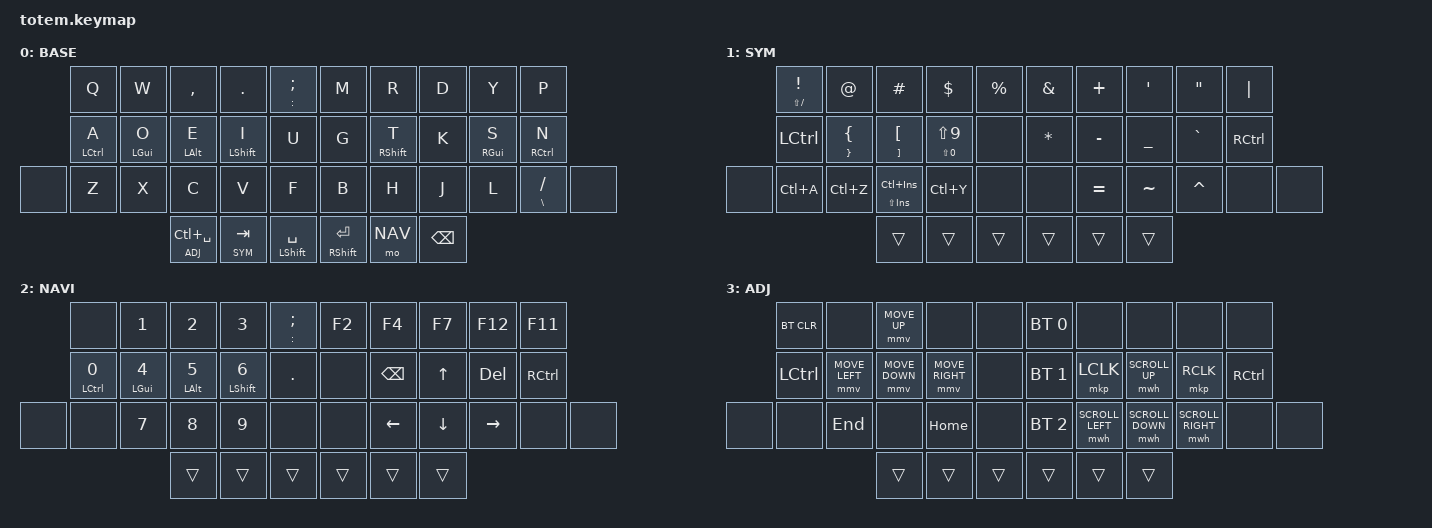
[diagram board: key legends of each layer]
#include <behaviors.dtsi>
#include <dt-bindings/zmk/keys.h>
#include <dt-bindings/zmk/bt.h>
#include <dt-bindings/zmk/outputs.h>
#include <dt-bindings/zmk/mouse.h>

#define BASE 0
#define SYM  1
#define NAV  2
#define ADJ  3

&lt {
        flavor = "hold-preferred";
        tapping-term-ms = <165>;
};

#define U_MOUSE_MOVE_MAX 1100
#define U_MOUSE_SCROLL_MAX 100

&mmv {
	time-to-max-speed-ms = <60>;
};
&mwh {
        time-to-max-speed-ms = <200>;
};

/ {
        combos {
                compatible = "zmk,combos";
                combo_esc {
                        timeout-ms = <72>;
                        key-positions = <1 2>;
                        bindings = <&kp ESC>;
                        layers = <0>;
                };
                combo_caps {
			timeout-ms = <72>;
			key-positions = <7 8>;
			bindings = <&caps_word>;
                        layers = <0>;
		};
                combo_mhen {
                        timeout-ms = <72>;
                        key-positions = <11 12>;
                        bindings = <&kp F23>;
                        layers = <0>;
                };
                combo_hen {
                        timeout-ms = <72>;
                        key-positions = <17 18>;
                        bindings = <&kp F24>;
                        layers = <0>;
                };
        };

        behaviors {
                hm: homerow_mods {
                        compatible = "zmk,behavior-hold-tap";
                        label = "HOMEROW_MODS";
                        #binding-cells = <2>;
                        tapping-term-ms = <260>;
                        quick-tap-ms = <220>;
                        flavor = "tap-preferred";
                        global-quick-tap;
                        bindings = <&kp>, <&kp>;
                };
                shm: shift_homerow_mods {
                        compatible = "zmk,behavior-hold-tap";
                        label = "HOMEROW_MODS";
                        #binding-cells = <2>;
                        tapping-term-ms = <200>;
                        quick-tap-ms = <0>;
                        flavor = "balanced";
                        bindings = <&kp>, <&kp>;
                };
	        td: tapdance {
		        compatible = "zmk,behavior-hold-tap";
		        label = "TAPDANCE";
		        #binding-cells = <2>;
		        tapping-term-ms = <170>;
		        quick-tap-ms = <0>;
		        flavor = "tap-preferred";
		        bindings = <&kp>, <&kp>;
	        };
        };

        keymap {
                compatible = "zmk,keymap";
                base_layer {
                        label= "BASE";
                        bindings = <
                                &kp Q       &kp W       &kp COMMA            &kp DOT      &td COLON SEMI          &kp M           &kp R        &kp D       &kp Y       &kp P
                                &hm LCTRL A &hm LGUI O  &hm LALT E           &hm LSHFT I  &kp U                   &kp G           &hm RSHFT T  &kp K       &hm RGUI S  &hm RCTRL N
                        &none   &kp Z       &kp X       &kp C                &kp V        &kp F                   &kp B           &kp H        &kp J       &kp L       &td BSLH FSLH    &none
                                                        &lt ADJ LC(SPACE)    &lt SYM TAB  &shm LSHFT SPACE        &shm RSHFT RET  &mo NAV      &kp BSPC
                        >;
                };

                sim_layer {
                        label= "SYM";
                        bindings = <
                                &td LS(FSLH) EXCL &kp AT         &kp HASH            &kp DLLR          &kp PRCNT       &kp AMPS &kp PLUS  &kp APOS  &kp DQT   &kp PIPE
                                &kp LCTRL         &td RBRC LBRC  &td RBKT LBKT       &td LS(N0) LS(N9) &none           &kp STAR &kp MINUS &kp UNDER &kp GRAVE &kp RCTRL
                        &none   &kp LC(A)         &kp LC(Z)      &td LS(INS) LC(INS) &kp LC(Y)         &none           &none    &kp EQUAL &kp TILDE &kp CARET &none     &none
                                                                 &trans              &trans            &trans          &trans   &trans    &trans
                        >;
                };

                nav_layer {
                        label= "NAVI";
                        bindings = <
                                &none         &kp N1       &kp N2       &kp N3        &td COLON SEMI  &kp F2  &kp F4    &kp F7    &kp F12    &kp F11
                                &hm LCTRL N0  &hm LGUI N4  &hm LALT N5  &hm LSHFT N6  &kp DOT         &none   &kp BSPC  &kp UP    &kp DEL    &kp RCTRL
                        &none   &none         &kp N7       &kp N8       &kp N9        &none           &none   &kp LEFT  &kp DOWN  &kp RIGHT  &none     &none
                                                           &trans       &trans        &trans          &trans  &trans    &trans
                        >;
                };


                adjust_layer {
                        label= "ADJ";
                        bindings = <
                                &bt BT_CLR &none           &mmv MOVE_UP    &none            &none          &bt BT_SEL 0  &none             &none             &none              &none
                                &kp LCTRL  &mmv MOVE_LEFT  &mmv MOVE_DOWN  &mmv MOVE_RIGHT  &none          &bt BT_SEL 1  &mkp LCLK         &mwh SCROLL_UP    &mkp RCLK          &kp RCTRL
                        &none   &none      &kp END         &none           &kp HOME         &none          &bt BT_SEL 2  &mwh SCROLL_LEFT  &mwh SCROLL_DOWN  &mwh SCROLL_RIGHT  &none      &none
                                                           &trans          &trans           &trans         &trans        &trans            &trans
                        >;
                };
        };
};
